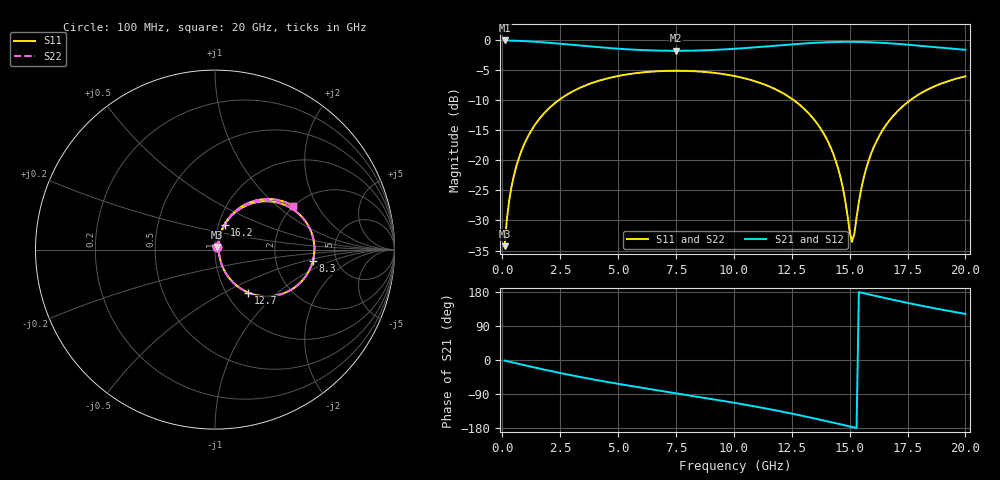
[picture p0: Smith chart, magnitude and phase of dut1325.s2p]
! Touchstone file exported from HFSS 2026.1.0
!  File:  C:/ffzhzh/LocalFiles/Ansys_Project_Files/temp_train_TSV_RDL_1325_1783337248_5512.aedt
!  Generated:  07:36:49 PM Jul  6, 2026
!  Design:  TSV_RDL
!  Project:  temp_train_TSV_RDL_1325_1783337248_5512
! Variables:
!  h_bsmrdl = 5.63um
!  h_ox = 20um
!  h_rdl = 5um
!  h_sub = 81.98um
!  h_tmrdl = 5.88um
!  h_tsv = 81.98um
!  h_via = 3um
!  l_bsmrdl = 867.89um
!  l_sub = 3850.49um
!  l_tmrdl = 184.63um
!  m_sub = 200um
!  pitch = 59.47um
!  r_tsv = 14.84um
!  s_tmrdl = 10um
!  w_bsmrdl = 20.5um
!  w_sub = 500um
!  w_tmrdl = 15.6um
!  x_tsv_center1 = 192.43um
!  x_tsv_center2 = 1080.82um
!  x_tsv_center3 = 1281.05um
!  x_tsv_center4 = 2169.44um
!  x_tsv_center5 = 2369.67um
!  x_tsv_center6 = 3258.06um
# GHz S MA R 50.000000
! Terminal data exported
! Port[1] = TM_RDL1_1_T1
! Port[2] = TM_RDL5_1_T1
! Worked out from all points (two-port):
!   200 points, 100 MHz to 20 GHz, reference 50 ohm
!   highest |S21| = -0.10 dB at 100 MHz (marker M1); lowest = -1.8 dB at 7.5 GHz (marker M2)
!   |S21| within 3 dB of the highest: start of sweep to end of sweep
!   lowest |S11| = -34.3 dB at 100 MHz (marker M3), VSWR 1.04, Z = 51.2 + j1.53 ohm
!   |S11| at or under -10 dB: start of sweep to 2.443 GHz; 12.58 GHz to 17.63 GHz (5.046 GHz wide, 33.4 % of centre)
!   |S22| runs from -34.3 to -5.1 dB; largest |S21 - S12| = 1.7e-14
!   S11 on the Smith chart (normalised r, x): 100 MHz: 1.02, +0.03; 8.3 GHz: 3.31, -0.60; 12.7 GHz: 1.26, -0.67; 16.2 GHz: 1.07, +0.30; 20 GHz: 1.98, +1.28
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0.1  0.01936 50.6  0.988 -1.5  0.988 -1.5  0.01936 50.6
! Gamma 0 0 0 0
! Port Impedance 50 0 50 0
0.2  0.03263 64.6  0.9871 -3.0  0.9871 -3.0  0.03263 64.6
0.4  0.06044 71.3  0.9848 -5.8  0.9848 -5.8  0.06044 71.3
0.7  0.1021 71.8  0.9805 -10.1  0.9805 -10.1  0.1021 71.8
1  0.143 69.6  0.9748 -14.3  0.9748 -14.3  0.143 69.6
2  0.2682 58.3  0.9458 -27.9  0.9458 -27.9  0.2682 58.3
3.5  0.4111 40.8  0.8907 -46.4  0.8907 -46.4  0.4111 40.8
6.8  0.5497 7.4  0.8135 -80.9  0.8135 -80.9  0.5497 7.4
7.5  0.5539 0.8  0.8107 -87.7  0.8107 -87.7  0.5539 0.9
8.3  0.5489 -6.7  0.8139 -95.5  0.8139 -95.5  0.5489 -6.7
10.1  0.4972 -24.1  0.8439 -113.7  0.8439 -113.7  0.4972 -24.1
12.7  0.3039 -52.1  0.9225 -144.0  0.9225 -144.0  0.304 -52.1
13.4  0.2256 -59.7  0.9417 -153.1  0.9417 -153.1  0.2257 -59.7
14.4  0.09922 -66.2  0.9592 -166.8  0.9592 -166.8  0.09924 -66.2
14.7  0.06011 -62.1  0.9614 -171.0  0.9614 -171.0  0.06013 -62.1
15.1  0.02102 -1.9  0.9619 -176.6  0.9619 -176.6  0.02102 -1.9
15.2  0.02435 31.1  0.9615 -178.1  0.9615 -178.1  0.02433 31.1
15.6  0.07042 67.8  0.9583 176.3  0.9583 176.3  0.07039 67.8
16.2  0.1489 68.8  0.9485 168.0  0.9485 168.0  0.1488 68.9
16.7  0.2117 64.6  0.9363 161.2  0.9363 161.2  0.2117 64.6
18.1  0.3626 49.5  0.8901 143.3  0.8901 143.3  0.3626 49.5
20  0.4974 29.4  0.8266 121.7  0.8266 121.7  0.4974 29.4
